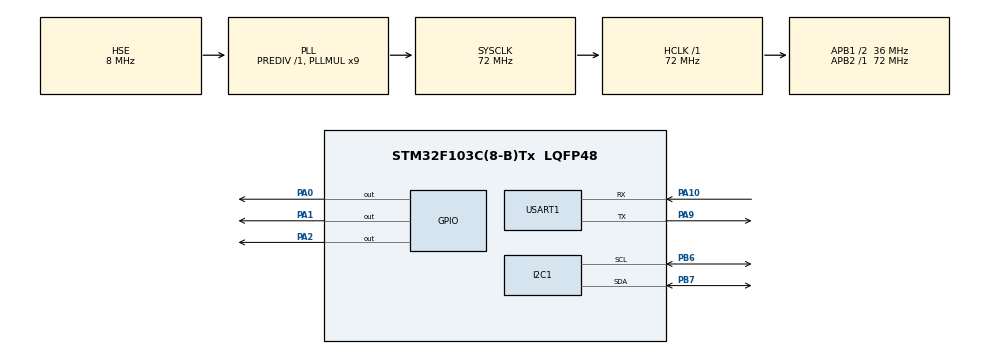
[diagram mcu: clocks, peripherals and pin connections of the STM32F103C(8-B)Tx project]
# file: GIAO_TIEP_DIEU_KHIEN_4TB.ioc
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Mcu.Family=STM32F1
Mcu.Name=STM32F103C(8-B)Tx
Mcu.Package=LQFP48
NVIC.PriorityGroup=NVIC_PRIORITYGROUP_4
NVIC.USART1_IRQn=true\:1\:0\:true\:false\:true\:true\:true\:true
PA0-WKUP.GPIO_Speed=GPIO_SPEED_FREQ_HIGH
PA0-WKUP.PinState=GPIO_PIN_SET
PA0-WKUP.Signal=GPIO_Output
PA1.GPIO_Speed=GPIO_SPEED_FREQ_HIGH
PA1.PinState=GPIO_PIN_SET
PA1.Signal=GPIO_Output
PA10.Mode=Asynchronous
PA10.Signal=USART1_RX
PA13.Mode=Serial_Wire
PA13.Signal=SYS_JTMS-SWDIO
PA14.Mode=Serial_Wire
PA14.Signal=SYS_JTCK-SWCLK
PA2.GPIO_Speed=GPIO_SPEED_FREQ_HIGH
PA2.PinState=GPIO_PIN_SET
PA2.Signal=GPIO_Output
PA9.Mode=Asynchronous
PA9.Signal=USART1_TX
PB6.Mode=I2C
PB6.Signal=I2C1_SCL
PB7.Mode=I2C
PB7.Signal=I2C1_SDA
PD0-OSC_IN.Mode=HSE-External-Oscillator
PD0-OSC_IN.Signal=RCC_OSC_IN
PD1-OSC_OUT.Mode=HSE-External-Oscillator
PD1-OSC_OUT.Signal=RCC_OSC_OUT
ProjectManager.HeapSize=0x200
ProjectManager.StackSize=0x400
ProjectManager.TargetToolchain=MDK-ARM V5.32
RCC.AHBFreq_Value=72000000
RCC.APB1CLKDivider=RCC_HCLK_DIV2
RCC.APB1Freq_Value=36000000
RCC.APB1TimFreq_Value=72000000
RCC.APB2Freq_Value=72000000
RCC.APB2TimFreq_Value=72000000
RCC.HCLKFreq_Value=72000000
RCC.PLLMUL=RCC_PLL_MUL9
RCC.PLLSourceVirtual=RCC_PLLSOURCE_HSE
RCC.SYSCLKFreq_VALUE=72000000
RCC.SYSCLKSource=RCC_SYSCLKSOURCE_PLLCLK
RCC.USBFreq_Value=72000000
USART1.VirtualMode=VM_ASYNC
board=custom

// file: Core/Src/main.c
/* USER CODE BEGIN Header */
/**
  ******************************************************************************
  * @file           : main.c
  * @brief          : Main program body
  ******************************************************************************
  * @attention
  *
  * Copyright (c) 2022 STMicroelectronics.
  * All rights reserved.
  *
  * This software is licensed under terms that can be found in the LICENSE file
  * in the root directory of this software component.
  * If no LICENSE file comes with this software, it is provided AS-IS.
  *
  ******************************************************************************
  */
/* USER CODE END Header */
#include "main.h"

/* USER CODE BEGIN Includes */
#include "i2c-lcd.h"
/* USER CODE END Includes */

 I2C_HandleTypeDef hi2c1;

UART_HandleTypeDef huart1;

void SystemClock_Config(void);
static void MX_GPIO_Init(void);
static void MX_USART1_UART_Init(void);
static void MX_I2C1_Init(void);

/* USER CODE BEGIN 0 */
uint8_t Recieve = 0;
#define DEN1(x) HAL_GPIO_WritePin(GPIOA, GPIO_PIN_0, x)
#define DEN2(x) HAL_GPIO_WritePin(GPIOA, GPIO_PIN_1, x)
#define DEN3(x) HAL_GPIO_WritePin(GPIOA, GPIO_PIN_2, x)
/* USER CODE END 0 */

int main(void)
{

  /* MCU Configuration--------------------------------------------------------*/

  /* Reset of all peripherals, Initializes the Flash interface and the Systick. */
  HAL_Init();

  /* Configure the system clock */
  SystemClock_Config();

  /* Initialize all configured peripherals */
  MX_GPIO_Init();
  MX_USART1_UART_Init();
  MX_I2C1_Init();
  /* USER CODE BEGIN 2 */
	lcd_init();
	lcd_clear();

	lcd_send_cmd(0x80|0x00);
	lcd_send_string("GIAO TIEP 4TB");
	lcd_send_cmd(0x80|0x40);
	lcd_send_string("QUA MAY TINH");
  /* USER CODE END 2 */

  /* Infinite loop */
  while (1)
  {

    /* USER CODE BEGIN 3 */
		HAL_UART_Receive(&huart1,&Recieve,1,1);
		if(Recieve!=0)
		{
			switch(Recieve)
			{
				case '1':
				{
					DEN1(1);
					break;
				}
				case '2':
				{
					DEN1(0);
					break;
				}
				case '3':
				{
					DEN2(1);
					break;
				}
				case '4':
				{
					DEN2(0);
					break;
				}
				case '5':
				{
					DEN3(1);
					break;
				}
				case '6':
				{
					DEN3(0);
					break;
				}

			}
			Recieve = 0;
		}
  }
  /* USER CODE END 3 */
}

void SystemClock_Config(void)
{
  RCC_OscInitTypeDef RCC_OscInitStruct = {0};
  RCC_ClkInitTypeDef RCC_ClkInitStruct = {0};

  /** Initializes the RCC Oscillators according to the specified parameters
  * in the RCC_OscInitTypeDef structure.
  */
  RCC_OscInitStruct.OscillatorType = RCC_OSCILLATORTYPE_HSE;
  RCC_OscInitStruct.HSEState = RCC_HSE_ON;
  RCC_OscInitStruct.HSEPredivValue = RCC_HSE_PREDIV_DIV1;
  RCC_OscInitStruct.HSIState = RCC_HSI_ON;
  RCC_OscInitStruct.PLL.PLLState = RCC_PLL_ON;
  RCC_OscInitStruct.PLL.PLLSource = RCC_PLLSOURCE_HSE;
  RCC_OscInitStruct.PLL.PLLMUL = RCC_PLL_MUL9;
  if (HAL_RCC_OscConfig(&RCC_OscInitStruct) != HAL_OK)
  {
    Error_Handler();
  }

  /** Initializes the CPU, AHB and APB buses clocks
  */
  RCC_ClkInitStruct.ClockType = RCC_CLOCKTYPE_HCLK|RCC_CLOCKTYPE_SYSCLK
                              |RCC_CLOCKTYPE_PCLK1|RCC_CLOCKTYPE_PCLK2;
  RCC_ClkInitStruct.SYSCLKSource = RCC_SYSCLKSOURCE_PLLCLK;
  RCC_ClkInitStruct.AHBCLKDivider = RCC_SYSCLK_DIV1;
  RCC_ClkInitStruct.APB1CLKDivider = RCC_HCLK_DIV2;
  RCC_ClkInitStruct.APB2CLKDivider = RCC_HCLK_DIV1;

  if (HAL_RCC_ClockConfig(&RCC_ClkInitStruct, FLASH_LATENCY_2) != HAL_OK)
  {
    Error_Handler();
  }
}

static void MX_I2C1_Init(void)
{

  hi2c1.Instance = I2C1;
  hi2c1.Init.ClockSpeed = 100000;
  hi2c1.Init.DutyCycle = I2C_DUTYCYCLE_2;
  hi2c1.Init.OwnAddress1 = 0;
  hi2c1.Init.AddressingMode = I2C_ADDRESSINGMODE_7BIT;
  hi2c1.Init.DualAddressMode = I2C_DUALADDRESS_DISABLE;
  hi2c1.Init.OwnAddress2 = 0;
  hi2c1.Init.GeneralCallMode = I2C_GENERALCALL_DISABLE;
  hi2c1.Init.NoStretchMode = I2C_NOSTRETCH_DISABLE;
  if (HAL_I2C_Init(&hi2c1) != HAL_OK)
  {
    Error_Handler();
  }

}

static void MX_USART1_UART_Init(void)
{

  huart1.Instance = USART1;
  huart1.Init.BaudRate = 115200;
  huart1.Init.WordLength = UART_WORDLENGTH_8B;
  huart1.Init.StopBits = UART_STOPBITS_1;
  huart1.Init.Parity = UART_PARITY_NONE;
  huart1.Init.Mode = UART_MODE_TX_RX;
  huart1.Init.HwFlowCtl = UART_HWCONTROL_NONE;
  huart1.Init.OverSampling = UART_OVERSAMPLING_16;
  if (HAL_UART_Init(&huart1) != HAL_OK)
  {
    Error_Handler();
  }

}

static void MX_GPIO_Init(void)
{
  GPIO_InitTypeDef GPIO_InitStruct = {0};

  /* GPIO Ports Clock Enable */
  __HAL_RCC_GPIOD_CLK_ENABLE();
  __HAL_RCC_GPIOA_CLK_ENABLE();
  __HAL_RCC_GPIOB_CLK_ENABLE();

  /*Configure GPIO pin Output Level */
  HAL_GPIO_WritePin(GPIOA, GPIO_PIN_0|GPIO_PIN_1|GPIO_PIN_2, GPIO_PIN_SET);

  /*Configure GPIO pins : PA0 PA1 PA2 */
  GPIO_InitStruct.Pin = GPIO_PIN_0|GPIO_PIN_1|GPIO_PIN_2;
  GPIO_InitStruct.Mode = GPIO_MODE_OUTPUT_PP;
  GPIO_InitStruct.Pull = GPIO_NOPULL;
  GPIO_InitStruct.Speed = GPIO_SPEED_FREQ_HIGH;
  HAL_GPIO_Init(GPIOA, &GPIO_InitStruct);

}

void Error_Handler(void)
{
  __disable_irq();
  while (1)
  {
  }
}
